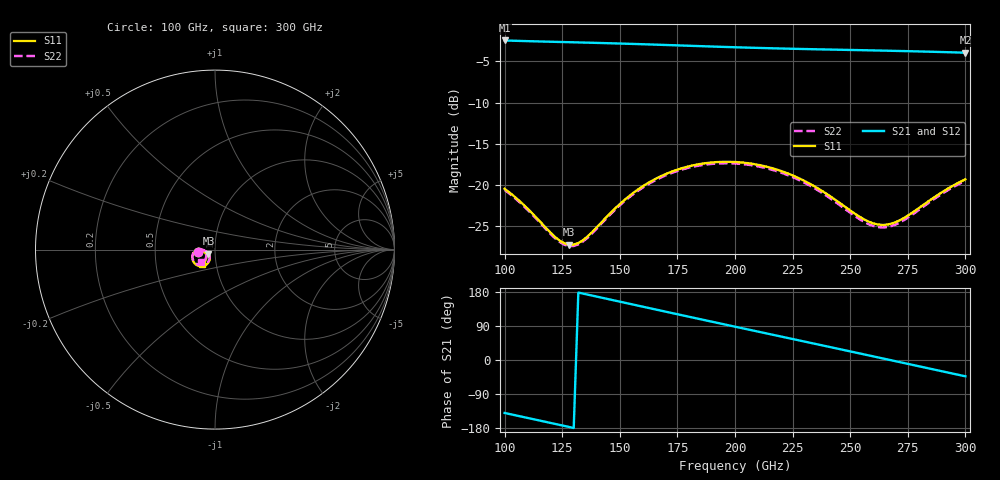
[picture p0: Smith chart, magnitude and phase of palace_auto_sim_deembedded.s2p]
! Created with skrf 1.11.0 (http://scikit-rf.org).
# GHz S DB R 50.0
!freq dBS11 angS11 dBS21 angS21 dBS12 angS12 dBS22 angS22
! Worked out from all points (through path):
!   101 points, 100 GHz to 300 GHz, reference 50 ohm
!   highest |S21| = -2.44 dB at 100 GHz (marker M1); lowest = -3.9 dB at 300 GHz (marker M2)
!   group delay of S21, straight-line fit = 3.65 ps
!   lowest |S11| = -27.3 dB at 128 GHz (marker M3), VSWR 1.09, Z = 46.4 - j2.11 ohm
!   |S11| at or under -10 dB: start of sweep to end of sweep
!   |S22| runs from -27.5 to -17.4 dB; largest |S21 - S12| = 7.8e-14
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100  -20.50 -170.7  -2.44 -139.8  -2.44 -139.8  -20.65 -172.3
114  -24.08 -173.2  -2.56 -158.2  -2.56 -158.2  -24.24 -175.1
122  -26.39 -163.4  -2.61 -168.8  -2.61 -168.8  -26.56 -165.3
128  -27.32 -148.3  -2.65 -176.7  -2.65 -176.7  -27.49 -150.3
134  -26.76 -132.1  -2.70 175.3  -2.70 175.3  -26.93 -134.1
142  -24.60 -119.5  -2.75 164.6  -2.75 164.6  -24.76 -121.7
150  -22.36 -116.7  -2.82 154.0  -2.82 154.0  -22.52 -119.1
158  -20.57 -119.2  -2.88 143.3  -2.88 143.3  -20.73 -121.8
168  -18.95 -125.8  -2.97 130.0  -2.97 130.0  -19.11 -128.6
176  -18.08 -132.4  -3.05 119.5  -3.05 119.5  -18.25 -135.4
184  -17.52 -139.5  -3.12 108.9  -3.12 108.9  -17.70 -142.6
192  -17.25 -146.8  -3.20 98.4  -3.20 98.4  -17.43 -150.0
200  -17.24 -153.9  -3.27 88.0  -3.27 88.0  -17.43 -157.4
216  -17.98 -167.2  -3.39 67.1  -3.39 67.1  -18.18 -170.9
234  -20.13 -177.4  -3.51 43.6  -3.51 43.6  -20.36 178.5
246  -22.34 -177.3  -3.58 28.0  -3.58 28.0  -22.61 178.4
258  -24.50 -165.5  -3.64 12.2  -3.64 12.2  -24.82 -169.7
264  -24.90 -155.0  -3.68 4.3  -3.68 4.3  -25.22 -159.0
268  -24.74 -147.8  -3.70 -1.0  -3.70 -1.0  -25.04 -151.6
274  -23.95 -138.8  -3.74 -8.9  -3.74 -8.9  -24.21 -142.6
284  -22.02 -131.5  -3.81 -22.0  -3.81 -22.0  -22.23 -135.5
300  -19.35 -133.7  -3.93 -43.1  -3.93 -43.1  -19.54 -138.1
